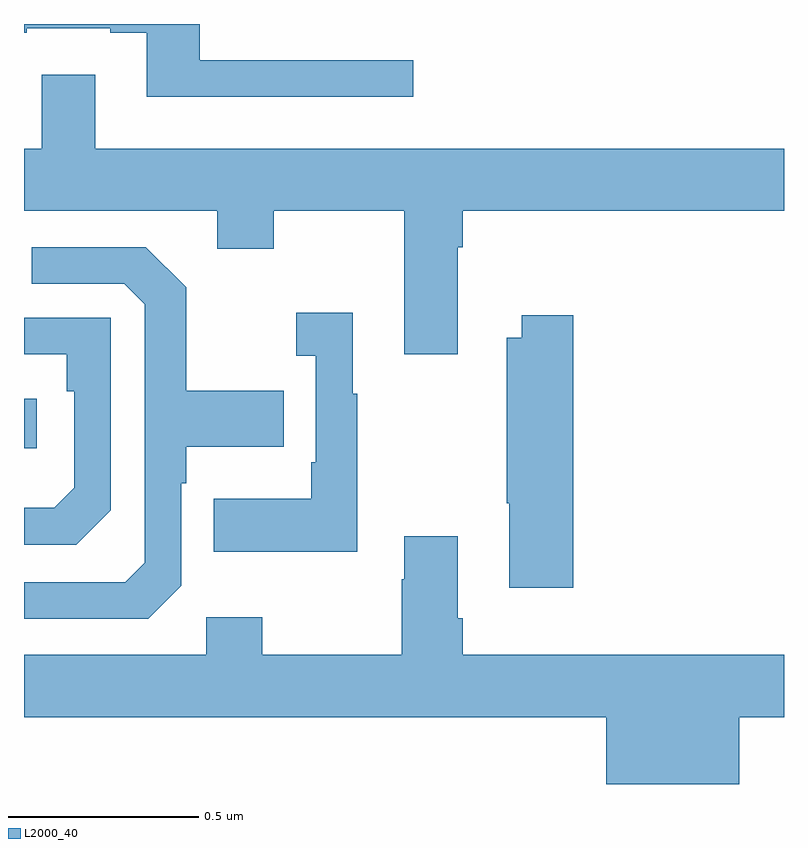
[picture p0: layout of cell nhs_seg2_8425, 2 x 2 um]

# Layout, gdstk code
import gdstk
lib = gdstk.Library(unit=1e-6, precision=1e-09)
def R(c, l, rs):  # rectangles x0, y0, x1, y1
    for r in rs: c.add(gdstk.rectangle(r[:2], r[2:], *l))
def P(c, l, *ps):  # polygons
    for p in ps: c.add(gdstk.Polygon(p, *l))
L2000_40 = (2000, 40)

nhs_seg2_8425 = lib.new_cell('nhs_seg2_8425')
R(nhs_seg2_8425, L2000_40, [(216,641.684,216.034,641.814)])
P(nhs_seg2_8425, L2000_40, [(217.024,642.705),(216.463,642.705),(216.463,642.8),(216,642.8),(216,642.777),(216.007,642.777),(216.007,642.789),(216.227,642.789),(216.227,642.777),(216.323,642.777),(216.323,642.608),(217.024,642.608)],
  [(217.141,642.212),(217.154,642.212),(217.154,642.308),(218,642.308),(218,642.472),(216.187,642.472),(216.187,642.667),(216.047,642.667),(216.047,642.472),(216,642.472),(216,642.308),(216.509,642.308),(216.509,642.209),(216.657,642.209),(216.657,642.308),(217.001,642.308),(217.001,641.931),(217.141,641.931)],
  [(216.414,641.322),(216.414,641.591),(216.427,641.591),(216.427,641.687),(216.683,641.687),(216.683,641.835),(216.427,641.835),(216.427,642.107),(216.321,642.213),(216.021,642.213),(216.021,642.117),(216.264,642.117),(216.318,642.063),(216.318,641.382),(216.267,641.331),(216,641.331),(216,641.235),(216.327,641.235)],
  [(216.877,641.827),(216.865,641.827),(216.865,642.04),(216.717,642.04),(216.717,641.927),(216.768,641.927),(216.768,641.647),(216.756,641.647),(216.756,641.551),(216.499,641.551),(216.499,641.411),(216.877,641.411)],
  [(217.445,642.034),(217.31,642.034),(217.31,641.974),(217.27,641.974),(217.27,641.539),(217.277,641.539),(217.277,641.316),(217.445,641.316)],
  [(216.228,641.52),(216.228,642.027),(216,642.027),(216,641.931),(216.112,641.931),(216.112,641.834),(216.132,641.834),(216.132,641.58),(216.079,641.527),(216,641.527),(216,641.43),(216.138,641.43)],
  [(217.882,640.976),(218,640.976),(218,641.14),(217.154,641.14),(217.154,641.236),(217.141,641.236),(217.141,641.452),(217.001,641.452),(217.001,641.339),(216.994,641.339),(216.994,641.14),(216.627,641.14),(216.627,641.239),(216.48,641.239),(216.48,641.14),(216,641.14),(216,640.976),(217.532,640.976),(217.532,640.8),(217.882,640.8)])

lib.write_gds('nhs_seg2_8425.gds')
